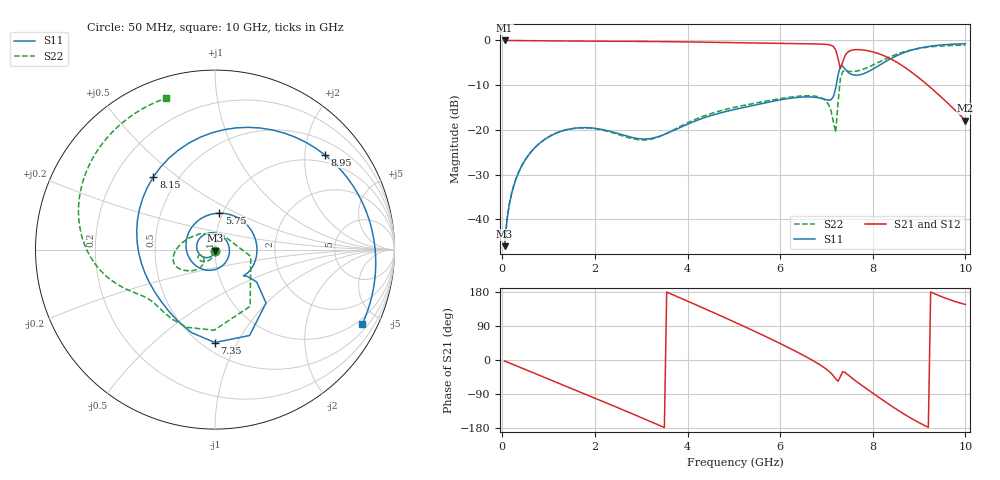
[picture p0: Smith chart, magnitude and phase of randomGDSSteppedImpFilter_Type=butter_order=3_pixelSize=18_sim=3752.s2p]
! freq	dB(S11)	phase(S11)	dB(S12)	phase(S12)
!  dB(S21)	phase(S21)	dB(S22)	phase(S22)
!S-par simulation data
#  GHz  S  DB  R 50
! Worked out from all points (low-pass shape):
!   200 points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, 50 MHz to 10 GHz, reference 50 ohm
!   highest |S21| = 0.00 dB at 50 MHz (marker M1); lowest = -17.9 dB at 10 GHz (marker M2)
!   |S21| within 3 dB of the highest: start of sweep to 7.223 GHz; 7.429 GHz to 8.141 GHz (711.6 MHz wide, 9.14 % of centre)
!   lowest |S11| = -46.0 dB at 50 MHz (marker M3), VSWR 1.01, Z = 50 - j0.503 ohm
!   |S11| at or under -10 dB: start of sweep to 7.211 GHz
!   |S22| runs from -45.9 to -1.0 dB; largest |S21 - S12| = 0
!   S11 on the Smith chart (normalised r, x): 50 MHz: 1.00, -0.01; 5.75 GHz: 0.96, +0.41; 7.35 GHz: 0.58, -0.82; 8.15 GHz: 0.36, +0.41; 8.95 GHz: 0.80, +2.45; 10 GHz: 0.76, -4.08
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0.05  -45.96 -90.1  -0.00 -2.6  -0.00 -2.6  -45.94 -88.6
0.2  -34.26 -101.9  -0.02 -10.2  -0.02 -10.2  -34.22 -96.8
0.5  -26.61 -122.0  -0.04 -25.3  -0.04 -25.3  -26.58 -109.1
1.15  -20.77 -164.9  -0.11 -57.9  -0.11 -57.9  -20.77 -132.8
1.75  -19.48 152.5  -0.15 -88.1  -0.15 -88.1  -19.54 -150.7
2.5  -20.80 86.5  -0.18 -126.1  -0.18 -126.1  -21.01 -160.4
3.4  -21.40 -28.2  -0.25 -172.9  -0.25 -172.9  -21.44 -135.9
4.15  -18.07 -114.6  -0.35 147.3  -0.35 147.3  -17.71 -129.6
5.05  -15.35 155.4  -0.49 98.2  -0.49 98.2  -14.86 -139.3
5.75  -13.80 83.4  -0.59 58.3  -0.59 58.3  -13.45 -147.8
6.7  -12.65 -14.6  -0.76 -1.1  -0.76 -1.1  -12.39 -166.2
7.05  -13.35 -42.6  -0.95 -29.4  -0.95 -29.4  -14.44 169.1
7.2  -10.64 -37.8  -2.12 -49.8  -2.12 -49.8  -20.53 67.5
7.3  -5.75 -68.1  -6.29 -43.7  -6.29 -43.7  -8.60 -58.2
7.35  -5.72 -90.1  -4.87 -30.8  -4.87 -30.8  -6.95 -90.6
7.45  -6.95 -117.4  -2.71 -37.7  -2.71 -37.7  -6.83 -121.2
7.7  -7.71 -161.1  -2.05 -61.5  -2.05 -61.5  -6.74 -143.0
8.15  -5.50 130.3  -3.04 -100.2  -3.04 -100.2  -4.75 -160.6
8.35  -4.29 103.9  -3.92 -117.0  -3.92 -117.0  -3.78 -169.5
8.95  -1.85 40.9  -7.98 -162.1  -7.98 -162.1  -1.86 159.7
9.4  -1.09 7.0  -11.92 171.5  -11.92 171.5  -1.29 136.7
10  -0.73 -26.7  -17.90 146.5  -17.90 146.5  -1.04 108.0
